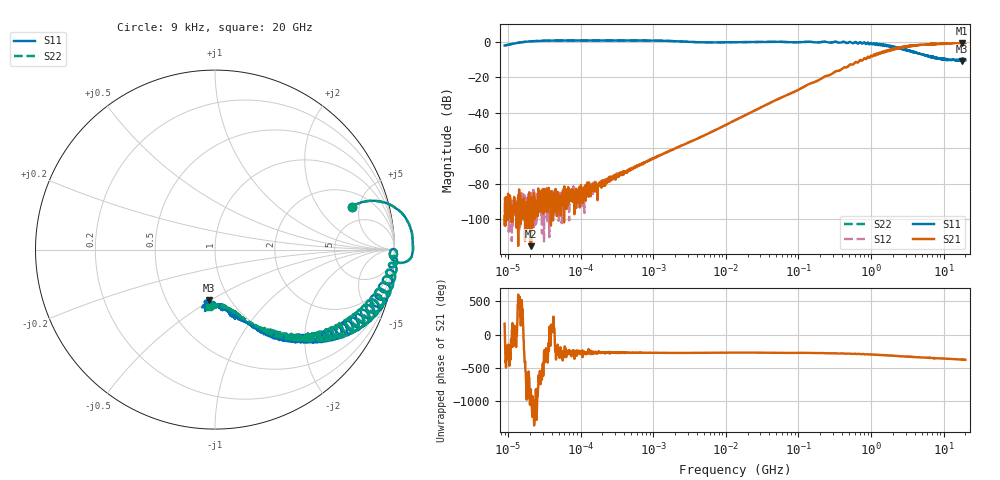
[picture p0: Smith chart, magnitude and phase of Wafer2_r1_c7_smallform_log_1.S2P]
!  2-Port S-parameters saved by WinCal
! VAR MeasName=S-Parameters (CALIBRATED_DATA) read from VNA (P5004A)
! VAR MeasDate=26/04/2024 18:43:51
! VAR NAME=Wafer2_r1_c7_smallform_log
! VAR FILENAME=Wafer2_r1_c7_smallform_log_1.S2P
! VAR DATE=26/04/2024 18:43:51
! VAR PHYS_PORTS=1,2
! VAR ObjTypeName=DATASET
! VAR IndexType=Frequency
# Hz S MA R 50
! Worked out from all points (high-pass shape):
!   2000 points, 9 kHz to 20 GHz, reference 50 ohm
!   highest |S21| = -0.64 dB at 18.05 GHz (marker M1); lowest = -115.2 dB at 20.56 kHz (marker M2)
!   |S21| within 3 dB of the highest: 2.259 GHz to 2.318 GHz (59.83 MHz wide, 2.61 % of centre); 2.344 GHz to end of sweep (the widest 2 of 3)
!   lowest |S11| = -10.9 dB at 17.79 GHz (marker M3), VSWR 1.79, Z = 40.1 - j24.6 ohm
!   |S11| at or under -10 dB: 12.15 GHz to 12.94 GHz (792.1 MHz wide, 6.31 % of centre); 14.27 GHz to 15.26 GHz (983 MHz wide, 6.66 % of centre); 15.38 GHz to 16.01 GHz (633.9 MHz wide, 4.04 % of centre) (the widest 3 of 19)
!   |S22| runs from -10.6 to 0.9 dB; largest |S21 - S12| = 0.036
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9000  0.7978 17.3  1.238e-05 162.8  1.594e-05 29.5  0.7978 17.3
13066.72  0.9334 16.9  5.771e-06 -67.1  2.574e-05 -32.8  0.9333 16.9
20559.63  1.045 12.2  1.736e-06 105.2  3.231e-05 140.6  1.045 12.2
36098.48  1.094 6.7  2.616e-05 -132.6  4.673e-05 43.2  1.094 6.7
103439.5  1.102 2.1  7.137e-05 110.4  7.771e-05 65.9  1.102 2.1
214874.2  1.103 0.7  0.0001134 81.9  0.0001143 91.7  1.103 0.7
250529.6  1.103 0.5  0.0001283 87.4  0.0001575 90.6  1.103 0.5
1180198  1.09 -2.6  0.0006046 87.1  0.0006154 86.4  1.09 -2.6
4530556  0.9807 -2.6  0.002072 86.6  0.002096 86.7  0.9807 -2.6
1.346554e7  0.986 0.1  0.006181 89.0  0.006255 88.6  0.9861 0.1
1.105652e8  0.9952 -2.1  0.04985 86.6  0.05022 86.2  0.9948 -2.1
1.536358e8  1.001 -5.6  0.06993 82.7  0.06921 83.0  1.001 -5.4
2.966476e8  0.9828 -6.6  0.13 81.5  0.1312 81.4  0.9825 -6.6
7.506948e8  0.8985 -20.9  0.2969 66.6  0.2963 66.8  0.9002 -20.5
1.752917e9  0.7473 -37.6  0.5561 48.6  0.5591 48.5  0.7469 -37.1
2.945676e9  0.6044 -50.9  0.7244 33.5  0.7307 33.6  0.6069 -50.3
5.646226e9  0.4239 -68.0  0.8501 14.9  0.8549 14.5  0.4221 -66.8
9.488158e9  0.334 -82.2  0.8939 1.4  0.8841 1.2  0.3328 -77.3
1.347662e10  0.3255 -89.2  0.9261 -6.1  0.9221 -7.0  0.3108 -86.1
1.779223e10  0.2844 -96.7  0.8799 -14.9  0.8844 -12.7  0.3281 -91.6
1.805428e10  0.3387 -98.7  0.9291 -15.0  0.9034 -16.5  0.2952 -92.0
2e10  0.3025 -98.5  0.887 -17.6  0.9001 -16.9  0.3215 -95.7
